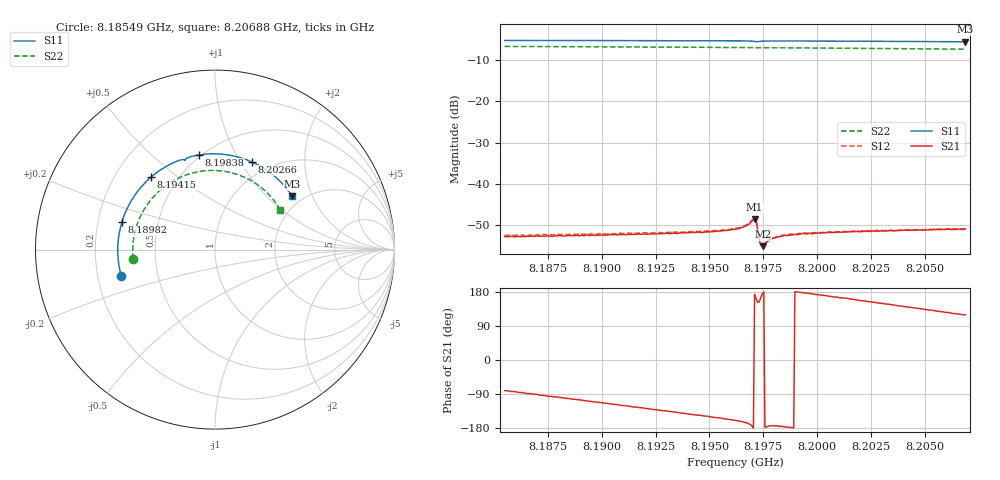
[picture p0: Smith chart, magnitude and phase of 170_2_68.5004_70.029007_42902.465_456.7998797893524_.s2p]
#  HZ  S  RI  R  50.00
! Rohde & Schwarz Vector Network Analyzer
! Rohde-Schwarz,ZNB20-2Port,1311601062101988,3.16
! Created: UTC 3/20/2024, 4:56:09 PM
! freq[Hz]  re:S11  im:S11  re:S21  im:S21  re:S12  im:S12  re:S22  im:S22
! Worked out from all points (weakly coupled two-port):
!   401 points, 8.18549 GHz to 8.20688 GHz, reference 50 ohm
!   highest |S21| = -48.55 dB at 8.1971 GHz (marker M1); lowest = -55.1 dB at 8.19747 GHz (marker M2)
!   lowest |S11| = -5.6 dB at 8.20688 GHz (marker M3), VSWR 3.19, Z = 88.2 + j72 ohm
!   |S11| at or under -10 dB: nowhere
!   |S22| runs from -7.4 to -6.8 dB; largest |S21 - S12| = 0.00021
!   S11 on the Smith chart (normalised r, x): 8.18549 GHz: 0.30, -0.12; 8.18982 GHz: 0.30, +0.13; 8.19415 GHz: 0.35, +0.40; 8.19838 GHz: 0.49, +0.72; 8.20266 GHz: 0.83, +1.12; 8.20688 GHz: 1.76, +1.44
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8.18549e9  -0.5226 -0.146  0.000366 -0.00229  0.000342 -0.00237  -0.4565 -0.0521
8.187255e9  -0.5415 -0.0244  -0.000136 -0.00233  -0.000221 -0.00244  -0.4554 0.0454
8.189073e9  -0.5317 0.1023  -0.000695 -0.0023  -0.000737 -0.00236  -0.4326 0.1432
8.189822e9  -0.5189 0.1531  -0.000869 -0.00223  -0.000958 -0.00231  -0.4169 0.1817
8.192657e9  -0.4279 0.3288  -0.00167 -0.00185  -0.00178 -0.00186  -0.3278 0.3102
8.194155e9  -0.3552 0.4049  -0.00209 -0.00153  -0.00219 -0.0015  -0.264 0.3635
8.196187e9  -0.2345 0.4828  -0.00264 -0.000986  -0.00273 -0.000931  -0.163 0.4153
8.196561e9  -0.2093 0.4933  -0.00286 -0.000883  -0.00297 -0.000782  -0.1431 0.422
8.196989e9  -0.1772 0.5016  -0.00356 -0.000299  -0.00366 -0.000125  -0.1198 0.4283
8.197096e9  -0.1693 0.5  -0.00371 0.000409  -0.00374 0.000575  -0.1141 0.4296
8.19715e9  -0.1667 0.498  -0.0035 0.000906  -0.00354 0.00105  -0.1112 0.4302
8.197203e9  -0.1664 0.497  -0.00299 0.00129  -0.00295 0.00145  -0.1082 0.4307
8.197364e9  -0.1633 0.5047  -0.00176 0.000579  -0.00176 0.000659  -0.0995 0.4328
8.197417e9  -0.1599 0.5074  -0.00175 0.000322  -0.00176 0.000409  -0.0966 0.4334
8.197471e9  -0.1562 0.5096  -0.00176 0.000122  -0.00181 0.000234  -0.0936 0.4339
8.197899e9  -0.1249 0.5203  -0.00216 -0.000265  -0.00217 -0.000169  -0.0697 0.4378
8.19838e9  -0.0906 0.5272  -0.00232 -0.000197  -0.0024 -5.29e-05  -0.0428 0.4402
8.199771e9  0.00792 0.5335  -0.00247 0.000212  -0.00253 0.000373  0.0359 0.4384
8.202659e9  0.2058 0.4882  -0.00235 0.00125  -0.00234 0.00136  0.1922 0.3895
8.203354e9  0.2499 0.4662  -0.00229 0.00148  -0.00223 0.00163  0.2265 0.3689
8.205226e9  0.3561 0.3871  -0.00188 0.00209  -0.00177 0.00215  0.3084 0.298
8.206884e9  0.4309 0.2964  -0.00137 0.00249  -0.00128 0.00253  0.3647 0.2188
